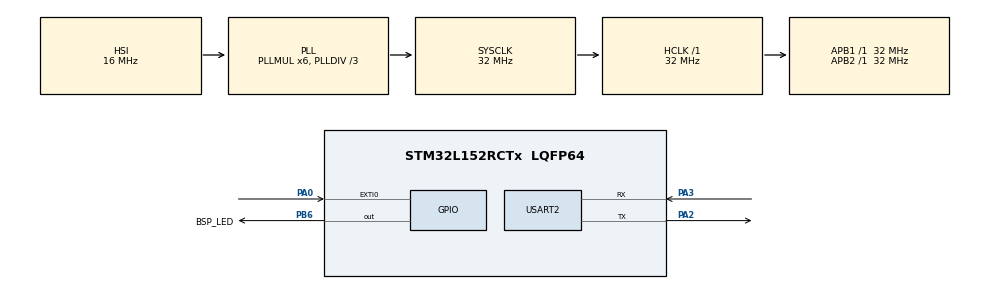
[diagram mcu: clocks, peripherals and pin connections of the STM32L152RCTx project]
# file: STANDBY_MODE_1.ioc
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Mcu.Family=STM32L1
Mcu.Name=STM32L152RCTx
Mcu.Package=LQFP64
NVIC.PriorityGroup=NVIC_PRIORITYGROUP_0
PA0-WKUP1.Signal=GPXTI0
PA13.Mode=Serial_Wire
PA13.Signal=SYS_JTMS-SWDIO
PA14.Mode=Serial_Wire
PA14.Signal=SYS_JTCK-SWCLK
PA2.Mode=Asynchronous
PA2.Signal=USART2_TX
PA3.Mode=Asynchronous
PA3.Signal=USART2_RX
PB6.GPIO_Label=BSP_LED
PB6.Signal=GPIO_Output
PC14-OSC32_IN.Mode=LSE-External-Oscillator
PC14-OSC32_IN.Signal=RCC_OSC32_IN
PC15-OSC32_OUT.Mode=LSE-External-Oscillator
PC15-OSC32_OUT.Signal=RCC_OSC32_OUT
PH0-OSC_IN.Mode=HSE-External-Oscillator
PH0-OSC_IN.Signal=RCC_OSC_IN
PH1-OSC_OUT.Mode=HSE-External-Oscillator
PH1-OSC_OUT.Signal=RCC_OSC_OUT
ProjectManager.HeapSize=0x200
ProjectManager.StackSize=0x400
ProjectManager.TargetToolchain=STM32CubeIDE
RCC.48MHZClocksFreq_Value=48000000
RCC.AHBFreq_Value=32000000
RCC.APB1Freq_Value=32000000
RCC.APB1TimFreq_Value=32000000
RCC.APB2Freq_Value=32000000
RCC.APB2TimFreq_Value=32000000
RCC.HCLKFreq_Value=32000000
RCC.HSE_VALUE=8000000
RCC.HSI_VALUE=16000000
RCC.MSI_VALUE=2097000
RCC.PLLDIV=RCC_PLL_DIV3
RCC.PLLMUL=RCC_PLL_MUL6
RCC.RTCClockSelectionVirtual=RCC_RTCCLKSOURCE_LSE
RCC.SYSCLKFreq_VALUE=32000000
RCC.SYSCLKSource=RCC_SYSCLKSOURCE_PLLCLK
RCC.USBOutput=48000000
RCC.VCOOutputFreq_Value=96000000
USART2.VirtualMode=VM_ASYNC
board=STM32L152C-DISCO

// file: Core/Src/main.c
/* USER CODE BEGIN Header */
/**
  ******************************************************************************
  * @file           : main.c
  * @brief          : Main program body
  ******************************************************************************
  * @attention
  *
  * Copyright (c) 2023 STMicroelectronics.
  * All rights reserved.
  *
  * This software is licensed under terms that can be found in the LICENSE file
  * in the root directory of this software component.
  * If no LICENSE file comes with this software, it is provided AS-IS.
  *
  ******************************************************************************
  */
/* USER CODE END Header */
#include "main.h"

/* USER CODE BEGIN Includes */

#include "string.h"

/* USER CODE END Includes */

UART_HandleTypeDef huart2;

void SystemClock_Config(void);
static void MX_GPIO_Init(void);
static void MX_USART2_UART_Init(void);

int main(void)
{

  /* MCU Configuration--------------------------------------------------------*/

  /* Reset of all peripherals, Initializes the Flash interface and the Systick. */
  HAL_Init();

  /* Configure the system clock */
  SystemClock_Config();

  /* Initialize all configured peripherals */
  MX_GPIO_Init();
  MX_USART2_UART_Init();
  /* USER CODE BEGIN 2 */

  //  check if the sb flag  is set

    if(__HAL_PWR_GET_FLAG(PWR_FLAG_SB)!=RESET){

  	  __HAL_PWR_CLEAR_FLAG(PWR_FLAG_SB);  // clear flag
    }

  //  Dispaly the string

    char *str = "Wakeup from the standby mode\r\n";
    HAL_UART_Transmit(&huart2,(uint8_t *)str,strlen(str),1000);

    // Blink the led

    for(int i=0;i<20; i++){

  	  HAL_GPIO_TogglePin(BSP_LED_GPIO_Port,BSP_LED_Pin);
  	  HAL_Delay(200);

  	  //  disable the wakup pin

  	  HAL_PWR_DisableWakeUpPin(PWR_WAKEUP_PIN1);  // disable PA0

    }

  //  Now enter the standby mode
  //   clear the wu flag

    __HAL_PWR_CLEAR_FLAG(PWR_FLAG_WU);

  //  Display the string

      str = "Enter  the standby mode\r\n";
      HAL_UART_Transmit(&huart2,(uint8_t *)str,strlen(str),1000);

      // Blink the led

      for(int i=0;i<20; i++){

    	  HAL_GPIO_TogglePin(BSP_LED_GPIO_Port,BSP_LED_Pin);
    	  HAL_Delay(200);

  //  	  Enable wakup pin

    	  HAL_PWR_EnableWakeUpPin(PWR_WAKEUP_PIN1);

  //  	  Lsat string

    	  char *str = " STANDBY MODE ON\r\n";
    	  HAL_UART_Transmit(&huart2,(uint8_t *)str,strlen(str),1000);

  //  	  Now enter the standby mode
    	  HAL_PWR_EnterSTANDBYMode();
      }

  /* USER CODE END 2 */

  /* Infinite loop */
  while (1)
  {

  }
}

void SystemClock_Config(void)
{
  RCC_OscInitTypeDef RCC_OscInitStruct = {0};
  RCC_ClkInitTypeDef RCC_ClkInitStruct = {0};

  /** Configure the main internal regulator output voltage
  */
  __HAL_PWR_VOLTAGESCALING_CONFIG(PWR_REGULATOR_VOLTAGE_SCALE1);

  /** Initializes the RCC Oscillators according to the specified parameters
  * in the RCC_OscInitTypeDef structure.
  */
  RCC_OscInitStruct.OscillatorType = RCC_OSCILLATORTYPE_HSI;
  RCC_OscInitStruct.HSIState = RCC_HSI_ON;
  RCC_OscInitStruct.HSICalibrationValue = RCC_HSICALIBRATION_DEFAULT;
  RCC_OscInitStruct.PLL.PLLState = RCC_PLL_ON;
  RCC_OscInitStruct.PLL.PLLSource = RCC_PLLSOURCE_HSI;
  RCC_OscInitStruct.PLL.PLLMUL = RCC_PLL_MUL6;
  RCC_OscInitStruct.PLL.PLLDIV = RCC_PLL_DIV3;
  if (HAL_RCC_OscConfig(&RCC_OscInitStruct) != HAL_OK)
  {
    Error_Handler();
  }

  /** Initializes the CPU, AHB and APB buses clocks
  */
  RCC_ClkInitStruct.ClockType = RCC_CLOCKTYPE_HCLK|RCC_CLOCKTYPE_SYSCLK
                              |RCC_CLOCKTYPE_PCLK1|RCC_CLOCKTYPE_PCLK2;
  RCC_ClkInitStruct.SYSCLKSource = RCC_SYSCLKSOURCE_PLLCLK;
  RCC_ClkInitStruct.AHBCLKDivider = RCC_SYSCLK_DIV1;
  RCC_ClkInitStruct.APB1CLKDivider = RCC_HCLK_DIV1;
  RCC_ClkInitStruct.APB2CLKDivider = RCC_HCLK_DIV1;

  if (HAL_RCC_ClockConfig(&RCC_ClkInitStruct, FLASH_LATENCY_1) != HAL_OK)
  {
    Error_Handler();
  }
}

static void MX_USART2_UART_Init(void)
{

  huart2.Instance = USART2;
  huart2.Init.BaudRate = 115200;
  huart2.Init.WordLength = UART_WORDLENGTH_8B;
  huart2.Init.StopBits = UART_STOPBITS_1;
  huart2.Init.Parity = UART_PARITY_NONE;
  huart2.Init.Mode = UART_MODE_TX_RX;
  huart2.Init.HwFlowCtl = UART_HWCONTROL_NONE;
  huart2.Init.OverSampling = UART_OVERSAMPLING_16;
  if (HAL_UART_Init(&huart2) != HAL_OK)
  {
    Error_Handler();
  }

}

static void MX_GPIO_Init(void)
{
  GPIO_InitTypeDef GPIO_InitStruct = {0};

  /* GPIO Ports Clock Enable */
  __HAL_RCC_GPIOC_CLK_ENABLE();
  __HAL_RCC_GPIOH_CLK_ENABLE();
  __HAL_RCC_GPIOA_CLK_ENABLE();
  __HAL_RCC_GPIOB_CLK_ENABLE();

  /*Configure GPIO pin Output Level */
  HAL_GPIO_WritePin(BSP_LED_GPIO_Port, BSP_LED_Pin, GPIO_PIN_RESET);

  /*Configure GPIO pin : PA0 */
  GPIO_InitStruct.Pin = GPIO_PIN_0;
  GPIO_InitStruct.Mode = GPIO_MODE_IT_RISING;
  GPIO_InitStruct.Pull = GPIO_NOPULL;
  HAL_GPIO_Init(GPIOA, &GPIO_InitStruct);

  /*Configure GPIO pin : BSP_LED_Pin */
  GPIO_InitStruct.Pin = BSP_LED_Pin;
  GPIO_InitStruct.Mode = GPIO_MODE_OUTPUT_PP;
  GPIO_InitStruct.Pull = GPIO_NOPULL;
  GPIO_InitStruct.Speed = GPIO_SPEED_FREQ_LOW;
  HAL_GPIO_Init(BSP_LED_GPIO_Port, &GPIO_InitStruct);

}

void Error_Handler(void)
{
  __disable_irq();
  while (1)
  {
  }
}
